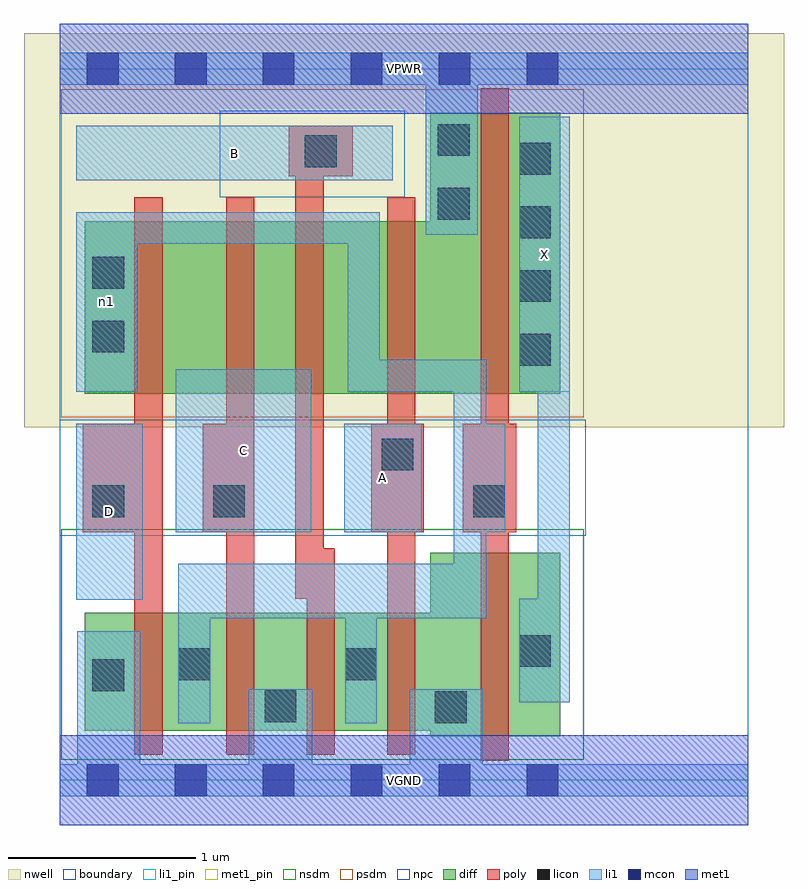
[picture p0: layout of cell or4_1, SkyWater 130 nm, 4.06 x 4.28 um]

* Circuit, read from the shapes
.subckt or4_1 A B C D VGND VPWR X n1
XM1 n1 D VGND VSUBS sky130_fd_pr__nfet_01v8 w=0.63 l=0.15
XM2 VGND C n1 VSUBS sky130_fd_pr__nfet_01v8 w=0.63 l=0.15
XM3 n1 B VGND VSUBS sky130_fd_pr__nfet_01v8 w=0.63 l=0.15
XM4 VGND A n1 VSUBS sky130_fd_pr__nfet_01v8 w=0.63 l=0.15
XM5 X n1 VGND VSUBS sky130_fd_pr__nfet_01v8 w=0.98 l=0.15
XM6 n2 D n1 n3 sky130_fd_pr__pfet_01v8 w=0.92 l=0.15
XM7 n4 C n2 n3 sky130_fd_pr__pfet_01v8 w=0.92 l=0.15
XM8 n5 B n4 n3 sky130_fd_pr__pfet_01v8 w=0.92 l=0.15
XM9 VPWR A n5 n3 sky130_fd_pr__pfet_01v8 w=0.92 l=0.15
XM10 X n1 VPWR n3 sky130_fd_pr__pfet_01v8 w=1.5 l=0.15
.ends

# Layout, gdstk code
import gdstk
lib = gdstk.Library(unit=1e-6, precision=1e-09)
def R(c, l, rs):  # rectangles x0, y0, x1, y1
    for r in rs: c.add(gdstk.rectangle(r[:2], r[2:], *l))
def A(c, l, x, y, w, h, nx, ny, dx, dy):  # array of equal rectangles
    R(c, l, [(x+i*dx, y+j*dy, x+i*dx+w, y+j*dy+h) for i in range(nx) for j in range(ny)])
nwell = (64, 20)
diff = (65, 20)
poly = (66, 20)
licon = (66, 44)
li1_pin = (67, 16)
li1 = (67, 20)
mcon = (67, 44)
met1_pin = (68, 16)
met1 = (68, 20)
nsdm = (93, 44)
psdm = (94, 20)
npc = (95, 20)
boundary = (235, 4)

or4_1 = lib.new_cell('or4_1')
R(or4_1, nwell, [(-0.19,1.885,3.87,3.99), (0,1.885,3.68,3.99)])
R(or4_1, diff, [(1.98,0.235,2.675,1.215), (0.135,0.265,2.675,0.895), (0.135,2.065,2.675,2.985), (1.98,2.065,2.675,3.565)])
R(or4_1, poly, [(2.25,0.105,2.4,3.695), (0.4,0.135,0.55,3.115), (0.89,0.135,1.04,3.115), (1.32,0.135,1.47,1.235), (1.32,0.135,1.465,1.24), (1.75,0.135,1.9,3.115), (1.26,0.97,1.41,3.495), (0.125,1.325,0.55,1.905), (0.765,1.325,1.04,1.905), (1.665,1.325,1.945,1.905), (2.155,1.325,2.44,1.905), (1.225,3.225,1.565,3.495)])
A(or4_1, licon, 2.455, 2.215, 0.17, 0.17, 1, 4, 0, 0.34)
R(or4_1, licon, [(2.005,0.305,2.175,0.475), (1.095,0.31,1.265,0.48), (0.175,0.475,0.345,0.645), (0.635,0.535,0.805,0.705), (1.525,0.535,1.695,0.705), (2.455,0.605,2.625,0.775), (0.175,1.405,0.345,1.575), (0.82,1.405,0.99,1.575), (2.21,1.405,2.38,1.575), (1.72,1.655,1.89,1.825), (0.175,2.285,0.345,2.455), (0.175,2.625,0.345,2.795), (2.02,2.995,2.19,3.165), (1.31,3.275,1.48,3.445), (2.02,3.335,2.19,3.505)])
R(or4_1, li1_pin, [(0.09,0.965,0.445,1.905), (0.62,1.325,1.345,2.195), (1.52,1.325,1.935,1.905), (2.455,2.075,2.725,3.545), (0.09,3.205,1.78,3.495)])
R(or4_1, li1, [(0,-0.085,3.68,0.085), (0.095,-0.085,0.43,0.795), (1.01,-0.085,1.35,0.485), (1.87,-0.085,2.26,0.485), (0.635,0.305,0.805,1.155), (1.525,0.305,1.695,1.155), (2.455,0.415,2.725,0.97), (2.555,0.415,2.725,3.545), (0.635,0.865,2.28,1.155), (2.105,0.865,2.28,2.245), (0.09,0.965,0.445,1.905), (0.62,1.325,1.345,2.195), (1.52,1.325,1.935,1.905), (2.105,1.325,2.38,1.905), (0.09,2.075,0.415,3.035), (1.54,2.075,2.28,2.245), (1.54,2.075,1.71,3.035), (2.455,2.075,2.725,3.545), (0.09,2.865,1.71,3.035), (1.955,2.915,2.235,3.885), (0.09,3.205,1.78,3.495), (0,3.715,3.68,3.885)])
A(or4_1, mcon, 0.145, -0.085, 0.17, 0.17, 6, 2, 0.47, 3.8)
R(or4_1, met1_pin, [(0,-0.24,3.68,0.24), (0,3.56,3.68,4.04)])
R(or4_1, met1, [(0,-0.24,3.68,0.24), (0,3.56,3.68,4.04)])
R(or4_1, nsdm, [(0.01,0.11,2.8,1.34)])
R(or4_1, psdm, [(0.01,1.94,2.8,3.69)])
R(or4_1, npc, [(0,1.305,2.81,1.925), (0.855,3.115,1.845,3.575)])
R(or4_1, boundary, [(0,0,3.68,3.8)])
or4_1.add(gdstk.Label('A', (1.727,1.615), layer=67, texttype=5))
or4_1.add(gdstk.Label('B', (0.935,3.35), layer=67, texttype=5))
or4_1.add(gdstk.Label('C', (0.982,1.76), layer=67, texttype=5))
or4_1.add(gdstk.Label('D', (0.267,1.435), layer=67, texttype=5))
or4_1.add(gdstk.Label('X', (2.59,2.81), layer=67, texttype=5))
or4_1.add(gdstk.Label('n1', (0.252,2.555), layer=67, texttype=5))
or4_1.add(gdstk.Label('VPWR', (1.84,3.8), layer=68, texttype=5))
or4_1.add(gdstk.Label('VGND', (1.84,0), layer=68, texttype=5))
or4_1.add(gdstk.Label('A', (1.727,1.615), layer=67, texttype=16))
or4_1.add(gdstk.Label('B', (0.935,3.35), layer=67, texttype=16))
or4_1.add(gdstk.Label('C', (0.982,1.76), layer=67, texttype=16))
or4_1.add(gdstk.Label('D', (0.267,1.435), layer=67, texttype=16))
or4_1.add(gdstk.Label('X', (2.59,2.81), layer=67, texttype=16))
or4_1.add(gdstk.Label('VPWR', (1.84,3.8), layer=68, texttype=16))
or4_1.add(gdstk.Label('VGND', (1.84,0), layer=68, texttype=16))

lib.write_gds('or4_1.gds')
